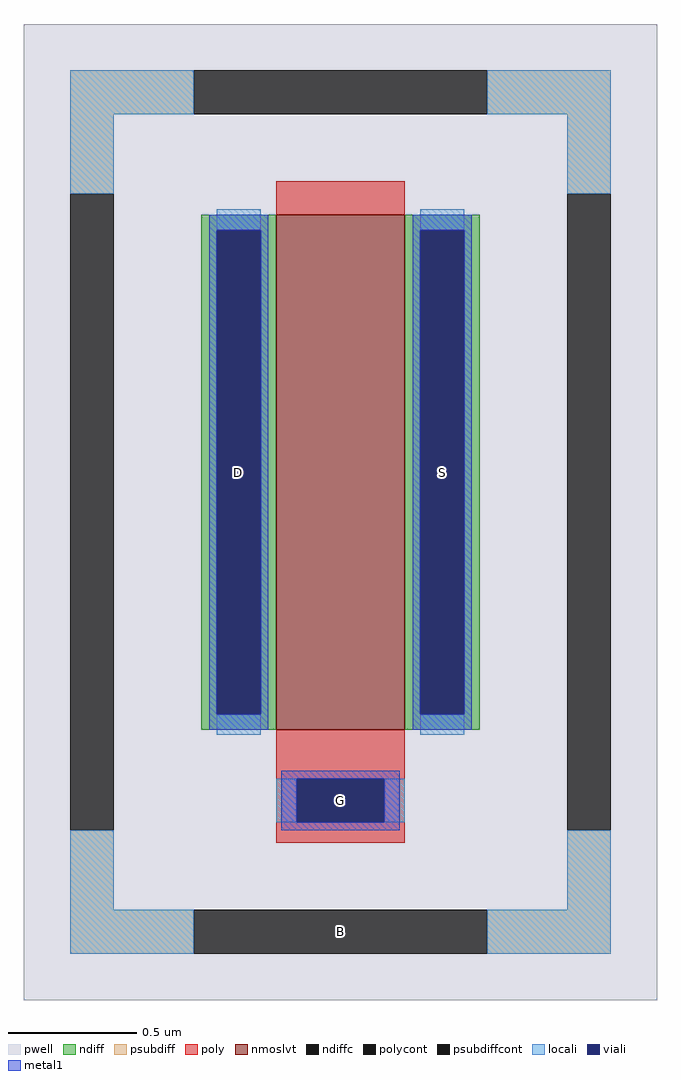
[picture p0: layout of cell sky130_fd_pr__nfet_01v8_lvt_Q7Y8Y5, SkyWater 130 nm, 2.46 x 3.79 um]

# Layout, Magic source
magic
tech sky130A
magscale 1 2
<< pwell >>
rect -246 -379 246 379
<< nmoslvt >>
rect -50 -169 50 231
<< ndiff >>
rect -108 219 -50 231
rect -108 -157 -96 219
rect -62 -157 -50 219
rect -108 -169 -50 -157
rect 50 219 108 231
rect 50 -157 62 219
rect 96 -157 108 219
rect 50 -169 108 -157
<< ndiffc >>
rect -96 -157 -62 219
rect 62 -157 96 219
<< psubdiff >>
rect -210 309 -114 343
rect 114 309 210 343
rect -210 247 -176 309
rect 176 247 210 309
rect -210 -309 -176 -247
rect 176 -309 210 -247
rect -210 -343 -114 -309
rect 114 -343 210 -309
<< psubdiffcont >>
rect -114 309 114 343
rect -210 -247 -176 247
rect 176 -247 210 247
rect -114 -343 114 -309
<< poly >>
rect -50 231 50 257
rect -50 -207 50 -169
rect -50 -241 -34 -207
rect 34 -241 50 -207
rect -50 -257 50 -241
<< polycont >>
rect -34 -241 34 -207
<< locali >>
rect -210 309 -114 343
rect 114 309 210 343
rect -210 247 -176 309
rect 176 247 210 309
rect -96 219 -62 235
rect -96 -173 -62 -157
rect 62 219 96 235
rect 62 -173 96 -157
rect -50 -241 -34 -207
rect 34 -241 50 -207
rect -210 -309 -176 -247
rect 176 -309 210 -247
rect -210 -343 -114 -309
rect 114 -343 210 -309
<< viali >>
rect -96 -157 -62 219
rect 62 -157 96 219
rect -34 -241 34 -207
<< metal1 >>
rect -102 219 -56 231
rect -102 -157 -96 219
rect -62 -157 -56 219
rect -102 -169 -56 -157
rect 56 219 102 231
rect 56 -157 62 219
rect 96 -157 102 219
rect 56 -169 102 -157
rect -46 -207 46 -201
rect -46 -241 -34 -207
rect 34 -241 46 -207
rect -46 -247 46 -241
<< labels >>
rlabel psubdiffcont 0 -326 0 -326 0 B
port 1 nsew
rlabel ndiffc -79 31 -79 31 0 D
port 2 nsew
rlabel ndiffc 79 31 79 31 0 S
port 3 nsew
rlabel polycont 0 -224 0 -224 0 G
port 4 nsew
<< properties >>
string FIXED_BBOX -193 -326 193 326
string gencell sky130_fd_pr__nfet_01v8_lvt
string library sky130
string parameters w 2 l 0.5 m 1 nf 1 diffcov 100 polycov 100 guard 1 glc 1 grc 1 gtc 1 gbc 1 tbcov 100 rlcov 100 topc 0 botc 1 poverlap 0 doverlap 1 lmin 0.15 wmin 0.42 class mosfet compatible {sky130_fd_pr__nfet_01v8 sky130_fd_pr__nfet_01v8_lvt  sky130_fd_bs_flash__special_sonosfet_star  sky130_fd_pr__nfet_g5v0d10v5 sky130_fd_pr__nfet_05v0_nvt  sky130_fd_pr__nfet_03v3_nvt} full_metal 1 conn_gates 0 viasrc 100 viadrn 100 viagate 100 viagb 0 viagr 0 viagl 0 viagt 0 doports 1
<< end >>
